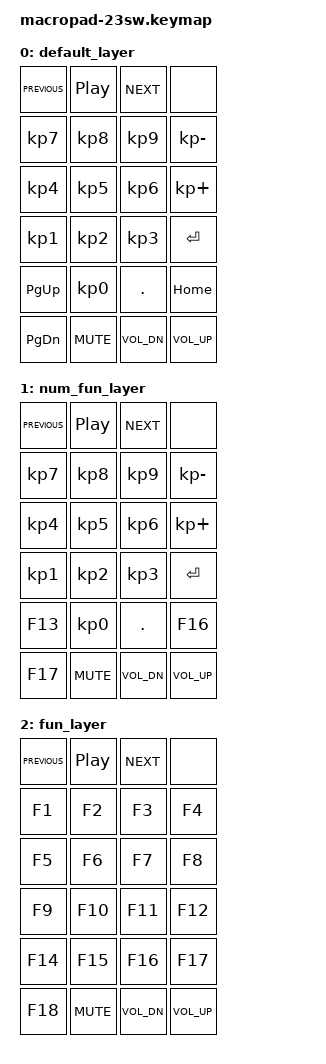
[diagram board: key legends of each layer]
#include <behaviors.dtsi>
#include <dt-bindings/zmk/keys.h>

 / {
     keymap {
        compatible = "zmk,keymap";
        default_layer {
            bindings = <
                &kp C_PREVIOUS      &kp C_PLAY_PAUSE   &kp C_NEXT       &none
                &kp KP_N7           &kp KP_N8          &kp KP_N9        &kp KP_MINUS
                &kp KP_N4           &kp KP_N5          &kp KP_N6        &kp KP_PLUS
                &kp KP_N1           &kp KP_N2          &kp KP_N3        &kp ENTER
                &kp PG_UP           &kp KP_N0          &kp DOT          &kp HOME
                &kp PG_DN           &kp C_MUTE         &kp C_VOL_DN     &kp C_VOL_UP
            >;
        };
        num_fun_layer {
            bindings = <
                &kp C_PREVIOUS      &kp C_PLAY_PAUSE   &kp C_NEXT       &none
                &kp KP_N7           &kp KP_N8          &kp KP_N9        &kp KP_MINUS
                &kp KP_N4           &kp KP_N5          &kp KP_N6        &kp KP_PLUS
                &kp KP_N1           &kp KP_N2          &kp KP_N3        &kp ENTER
                &kp F13             &kp KP_N0          &kp DOT          &kp F16
                &kp F17             &kp C_MUTE         &kp C_VOL_DN     &kp C_VOL_UP
            >;
        };
        fun_layer {
            bindings = <
                &kp C_PREVIOUS    &kp C_PLAY_PAUSE &kp C_NEXT     &none
                &kp F1            &kp F2           &kp F3         &kp F4
                &kp F5            &kp F6           &kp F7         &kp F8
                &kp F9            &kp F10          &kp F11        &kp F12
                &kp F14           &kp F15          &kp F16        &kp F17
                &kp F18           &kp C_MUTE       &kp C_VOL_DN   &kp C_VOL_UP
            >;
        };
     };
     combos {
        compatible = "zmk,combos";
        combo_default_layer {
            timeout-ms = <50>;
            key-positions = <20 16>;
            bindings = <&to 0>;
        };
        combo_num_fun_layer {
            timeout-ms = <50>;
            key-positions = <20 17>;
            bindings = <&to 1>;
        };
        combo_fun_layer {
            timeout-ms = <50>;
            key-positions = <20 18>;
            bindings = <&to 2>;
        };
    };
 };
